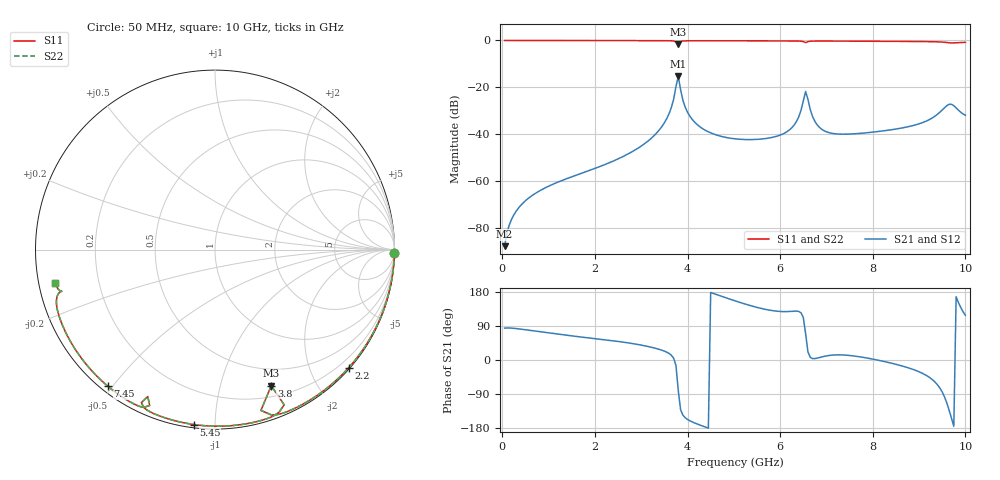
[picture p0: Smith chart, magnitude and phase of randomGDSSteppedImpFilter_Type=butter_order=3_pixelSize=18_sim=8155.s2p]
! freq	dB(S11)	phase(S11)	dB(S12)	phase(S12)
!  dB(S21)	phase(S21)	dB(S22)	phase(S22)
!S-par simulation data
#  GHz  S  DB  R 50
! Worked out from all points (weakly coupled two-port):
!   200 points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, 50 MHz to 10 GHz, reference 50 ohm
!   highest |S21| = -15.35 dB at 3.8 GHz (marker M1); lowest = -88.0 dB at 50 MHz (marker M2)
!   lowest |S11| = -1.7 dB at 3.8 GHz (marker M3), VSWR 10.14, Z = 15.6 - j72.5 ohm
!   |S11| at or under -10 dB: nowhere
!   |S22| runs from -1.7 to 0.0 dB; largest |S21 - S12| = 0
!   S11 on the Smith chart (normalised r, x): 50 MHz: open; 2.2 GHz: 0.02, -2.64; 3.8 GHz: 0.31, -1.45; 5.45 GHz: 0.02, -0.89; 7.45 GHz: 0.02, -0.49; 10 GHz: 0.05, -0.10
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0.05  -0.00 -1.0  -87.97 84.1  -87.97 84.1  -0.00 -1.0
0.65  -0.01 -12.5  -66.22 77.3  -66.22 77.3  -0.01 -12.5
1.75  -0.04 -33.2  -56.51 60.0  -56.51 60.0  -0.04 -33.2
2.2  -0.05 -41.5  -53.19 53.7  -53.19 53.7  -0.05 -41.5
2.95  -0.07 -55.2  -45.83 40.5  -45.83 40.5  -0.07 -55.2
3.4  -0.09 -63.6  -38.01 27.7  -38.01 27.7  -0.09 -63.6
3.65  -0.15 -69.3  -28.73 12.7  -28.73 12.7  -0.15 -69.3
3.8  -1.72 -67.5  -15.35 -80.6  -15.35 -80.6  -1.72 -67.5
3.95  -0.17 -70.2  -28.54 -152.4  -28.54 -152.4  -0.16 -70.2
4.15  -0.12 -74.7  -34.88 -166.0  -34.88 -166.0  -0.12 -74.7
5.05  -0.14 -90.3  -42.12 155.1  -42.12 155.1  -0.14 -90.3
5.45  -0.16 -96.9  -42.35 140.4  -42.35 140.4  -0.16 -96.9
6.25  -0.22 -110.2  -37.37 128.5  -37.37 128.5  -0.22 -110.2
6.4  -0.26 -113.1  -32.73 128.2  -32.73 128.2  -0.26 -113.1
6.55  -0.91 -114.6  -21.82 69.3  -21.82 69.3  -0.91 -114.6
6.7  -0.28 -115.4  -32.53 3.7  -32.53 3.7  -0.28 -115.4
6.95  -0.25 -120.1  -38.62 9.6  -38.62 9.6  -0.25 -120.1
7.45  -0.29 -128.2  -40.06 12.5  -40.06 12.5  -0.29 -128.2
8.35  -0.37 -142.5  -38.34 -6.8  -38.34 -6.8  -0.37 -142.5
9.15  -0.48 -155.9  -34.53 -40.2  -34.53 -40.2  -0.48 -155.9
9.65  -1.00 -164.8  -27.31 -133.2  -27.31 -133.2  -1.00 -164.8
10  -0.81 -168.3  -31.97 117.9  -31.97 117.9  -0.81 -168.3
